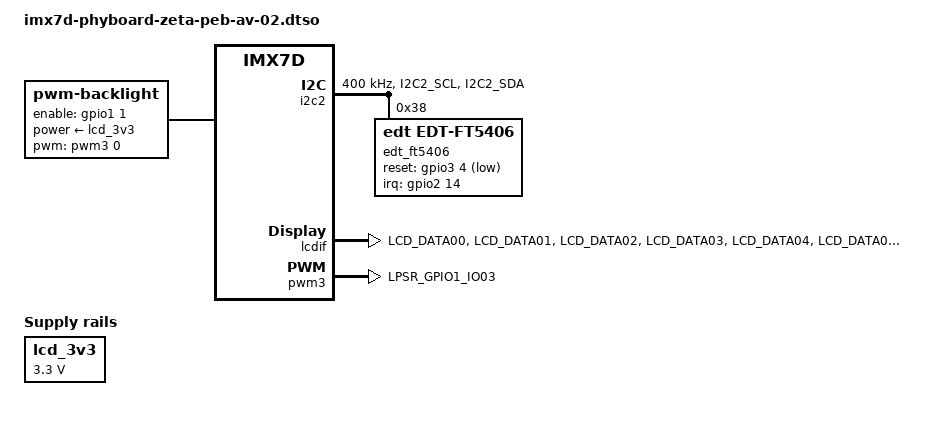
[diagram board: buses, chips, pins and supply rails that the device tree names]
// SPDX-License-Identifier: GPL-2.0-or-later
/*
 * Copyright (C) 2015-2023 PHYTEC America, LLC
 *
 * Support for PEB-AV-02-070W.A1 LCD adapter
 */

/dts-v1/;
/plugin/;

#include <dt-bindings/gpio/gpio.h>
#include "../imx7d-pinfunc.h"

/ {
	compatible = "phytec,imx7-phyboard-zeta-kit",
				"phytec,imx7-phycore-som",
				"fsl,imx7d";
};

&{/} {
	backlight: backlight {
		compatible = "pwm-backlight";
		pwms = <&pwm3 0 5000000 0>;
		enable-gpios = <&gpio1 1 0>;
		brightness-levels = <0 4 8 16 32 64 128 255>;
		default-brightness-level = <6>;
		power-supply = <&lcd_3v3>;
		not-externally-controlled;
	};

	lcd_3v3: fixedregulator-lcd {
		compatible = "regulator-fixed";
		regulator-name = "lcd_3v3";
		regulator-min-microvolt = <3300000>;
		regulator-max-microvolt = <3300000>;
		regulator-boot-on;
	};
};

&i2c2 {
	clock-frequency = <400000>;
	pinctrl-names = "default";
	pinctrl-0 = <&pinctrl_i2c2>;
	status = "okay";

	edt_ft5406: polytouch@38 {
		compatible = "edt,edt-ft5406", "edt,edt-ft5x06";
		reg = <0x38>;
		pinctrl-names = "default";
		pinctrl-0 = <&pinctrl_edt_ts_irq>;
		interrupt-parent = <&gpio2>;
		interrupts = <14 0>;
		reset-gpios = <&gpio3 4 GPIO_ACTIVE_LOW>;
	};
};

&lcdif {
	pinctrl-names = "default";
	pinctrl-0 = <&pinctrl_lcdif_dat
		     &pinctrl_lcdif_ctrl
		     &pinctrl_lpsr_lcdif_ctrl>;
	display = <&display0>;
	lcd-supply = <&lcd_3v3>;
	status = "okay";

	display0: display@0 {
		bits-per-pixel = <32>;
		bus-width = <24>;

		display-timings {
			native-mode = <&timing0>;
			timing0: ETM0700G0EDH6 {
				clock-frequency = <33264000>;
				hactive = <800>;
				vactive = <480>;
				hfront-porch = <40>;
				hback-porch = <88>;
				hsync-len = <128>;
				vback-porch = <33>;
				vfront-porch = <10>;
				vsync-len = <2>;
				hsync-active = <0>;
				vsync-active = <0>;
				de-active = <1>;
				pixelclk-active = <0>;
			};
		};
	};
};

&pwm3 {
	pinctrl-names = "default";
	pinctrl-0 = <&pinctrl_pwm3>;
	status = "okay";
};

&iomuxc {
	pinctrl_edt_ts_irq: tsirqgrp {
		fsl,pins = <
			MX7D_PAD_EPDC_DATA14__GPIO2_IO14	0x59
		>;
	};

	pinctrl_i2c2: i2c2grp {
		fsl,pins = <
			MX7D_PAD_I2C2_SCL__I2C2_SCL	0x4000007e
			MX7D_PAD_I2C2_SDA__I2C2_SDA	0x4000007e
		>;
	};

	pinctrl_lcdif_ctrl: lcdifctrlgrp {
		fsl,pins = <
			MX7D_PAD_LCD_CLK__LCD_CLK	0x7e
			MX7D_PAD_LCD_ENABLE__LCD_ENABLE	0x7e
			MX7D_PAD_LCD_HSYNC__LCD_HSYNC	0x7e
			MX7D_PAD_LCD_VSYNC__LCD_VSYNC	0x7e
			MX7D_PAD_LCD_RESET__GPIO3_IO4	0x79
		>;
	};

	pinctrl_lcdif_dat: lcdifdatgrp {
		fsl,pins = <
			MX7D_PAD_LCD_DATA00__LCD_DATA0	0x7e
			MX7D_PAD_LCD_DATA01__LCD_DATA1	0x7e
			MX7D_PAD_LCD_DATA02__LCD_DATA2	0x7e
			MX7D_PAD_LCD_DATA03__LCD_DATA3	0x7e
			MX7D_PAD_LCD_DATA04__LCD_DATA4	0x7e
			MX7D_PAD_LCD_DATA05__LCD_DATA5	0x7e
			MX7D_PAD_LCD_DATA06__LCD_DATA6	0x7e
			MX7D_PAD_LCD_DATA07__LCD_DATA7	0x7e
			MX7D_PAD_LCD_DATA08__LCD_DATA8	0x7e
			MX7D_PAD_LCD_DATA09__LCD_DATA9	0x7e
			MX7D_PAD_LCD_DATA10__LCD_DATA10	0x7e
			MX7D_PAD_LCD_DATA11__LCD_DATA11	0x7e
			MX7D_PAD_LCD_DATA12__LCD_DATA12	0x7e
			MX7D_PAD_LCD_DATA13__LCD_DATA13	0x7e
			MX7D_PAD_LCD_DATA14__LCD_DATA14	0x7e
			MX7D_PAD_LCD_DATA15__LCD_DATA15	0x7e
			MX7D_PAD_LCD_DATA16__LCD_DATA16	0x7e
			MX7D_PAD_LCD_DATA17__LCD_DATA17	0x7e
			MX7D_PAD_LCD_DATA18__LCD_DATA18	0x7e
			MX7D_PAD_LCD_DATA19__LCD_DATA19	0x7e
			MX7D_PAD_LCD_DATA20__LCD_DATA20	0x7e
			MX7D_PAD_LCD_DATA21__LCD_DATA21	0x7e
			MX7D_PAD_LCD_DATA22__LCD_DATA22	0x7e
			MX7D_PAD_LCD_DATA23__LCD_DATA23	0x7e
		>;
	};
};

&iomuxc_lpsr {
	pinctrl_lpsr_lcdif_ctrl: lpsr-lcdifctrlgrp {
		fsl,pins = <
			MX7D_PAD_LPSR_GPIO1_IO01__GPIO1_IO1	0x59
		>;
	};

	pinctrl_pwm3: pwm3grp {
		fsl,pins = <
			MX7D_PAD_LPSR_GPIO1_IO03__PWM3_OUT	0x30
		>;
	};

};
